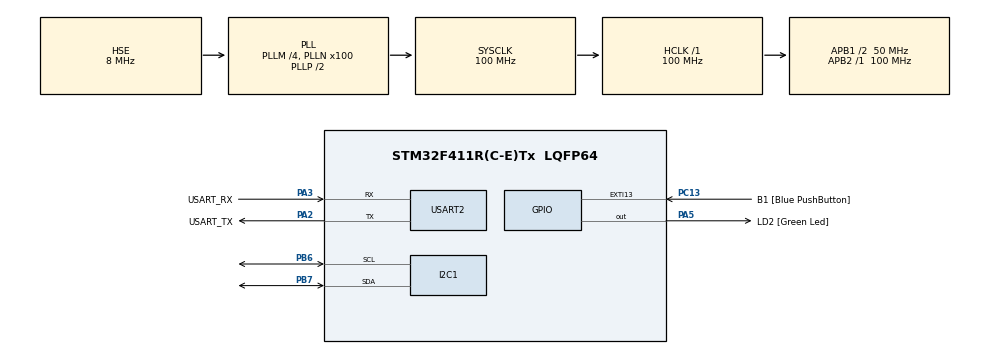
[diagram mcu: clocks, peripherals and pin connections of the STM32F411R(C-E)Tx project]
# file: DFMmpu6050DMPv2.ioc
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I2C1.I2C_Mode=I2C_Fast
Mcu.Family=STM32F4
Mcu.Name=STM32F411R(C-E)Tx
Mcu.Package=LQFP64
NVIC.PriorityGroup=NVIC_PRIORITYGROUP_0
PA13.GPIO_Label=TMS
PA13.Mode=Serial_Wire
PA13.Signal=SYS_JTMS-SWDIO
PA14.GPIO_Label=TCK
PA14.Mode=Serial_Wire
PA14.Signal=SYS_JTCK-SWCLK
PA2.GPIO_Label=USART_TX
PA2.Mode=Asynchronous
PA2.Signal=USART2_TX
PA3.GPIO_Label=USART_RX
PA3.Mode=Asynchronous
PA3.Signal=USART2_RX
PA5.GPIO_Label=LD2 [Green Led]
PA5.Signal=GPIO_Output
PB3.GPIO_Label=SWO
PB3.Signal=SYS_JTDO-SWO
PB6.Mode=I2C
PB6.Signal=I2C1_SCL
PB7.Mode=I2C
PB7.Signal=I2C1_SDA
PC13-ANTI_TAMP.GPIO_Label=B1 [Blue PushButton]
PC13-ANTI_TAMP.GPIO_ModeDefaultEXTI=GPIO_MODE_IT_FALLING
PC13-ANTI_TAMP.Signal=GPXTI13
PC14-OSC32_IN.Mode=LSE-External-Oscillator
PC14-OSC32_IN.Signal=RCC_OSC32_IN
PC15-OSC32_OUT.Mode=LSE-External-Oscillator
PC15-OSC32_OUT.Signal=RCC_OSC32_OUT
PH0\ -\ OSC_IN.Mode=HSE-External-Clock-Source
PH0\ -\ OSC_IN.Signal=RCC_OSC_IN
PH1\ -\ OSC_OUT.Mode=HSE-External-Clock-Source
PH1\ -\ OSC_OUT.Signal=RCC_OSC_OUT
ProjectManager.HeapSize=0x200
ProjectManager.StackSize=0x400
ProjectManager.TargetToolchain=STM32CubeIDE
RCC.48MHZClocksFreq_Value=50000000
RCC.AHBFreq_Value=100000000
RCC.APB1CLKDivider=RCC_HCLK_DIV2
RCC.APB1Freq_Value=50000000
RCC.APB1TimFreq_Value=100000000
RCC.APB2Freq_Value=100000000
RCC.APB2TimFreq_Value=100000000
RCC.CortexFreq_Value=100000000
RCC.FLatency-AdvancedSettings=FLASH_LATENCY_3
RCC.HCLKFreq_Value=100000000
RCC.HSE_VALUE=8000000
RCC.HSI_VALUE=16000000
RCC.PLLM=8
RCC.PLLN=100
RCC.SYSCLKFreq_VALUE=100000000
RCC.SYSCLKSource=RCC_SYSCLKSOURCE_PLLCLK
RCC.VCOOutputFreq_Value=200000000
USART2.VirtualMode=VM_ASYNC
board=NUCLEO-F411RE

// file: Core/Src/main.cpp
/* USER CODE BEGIN Header */
/**
  ******************************************************************************
  * @file           : main.c
  * @brief          : Main program body
  ******************************************************************************
  * @attention
  *
  * <h2><center>&copy; Copyright (c) 2021 STMicroelectronics.
  * All rights reserved.</center></h2>
  *
  * This software component is licensed by ST under BSD 3-Clause license,
  * the "License"; You may not use this file except in compliance with the
  * License. You may obtain a copy of the License at:
  *                        opensource.org/licenses/BSD-3-Clause
  *
  ******************************************************************************
  */
/* USER CODE END Header */
#include "main.h"
#include "i2c.h"
#include "usart.h"
#include "gpio.h"

/* USER CODE BEGIN Includes */
#include "string.h"
#include "sd_hal_mpu6050.h"
#include "math.h"
#include "ArduinoWrapper.h"
/* USER CODE END Includes */

/* USER CODE BEGIN PTD */
//extern UART_HandleTypeDef huart2;
//
//#ifdef __GNUC__
//#define PUTCHAR_PROTOTYPE int __io_putchar(int ch)
//#else
//#define PUTCHAR_PROTOTYPE int fputc(int ch, FILE *f)
//#endif
//PUTCHAR_PROTOTYPE
//{
//    HAL_UART_Transmit(&huart2 , (uint8_t *)&ch, 1 , 0xffff);
//    return ch;
//}
/* USER CODE END PTD */

void SystemClock_Config(void);
/* USER CODE BEGIN PFP */
#define MPU6050_I2C_ADDR			0xD0

/* Who I am register value */
#define MPU6050_I_AM				0x68
#define MPU6050_AUX_VDDIO			0x01
#define MPU6050_SMPLRT_DIV			0x19
#define MPU6050_CONFIG				0x1A
#define MPU6050_GYRO_CONFIG			0x1B
#define MPU6050_ACCEL_CONFIG		0x1C
#define MPU6050_MOTION_THRESH		0x1F
#define MPU6050_INT_PIN_CFG			0x37
#define MPU6050_INT_ENABLE			0x38
#define MPU6050_INT_STATUS			0x3A
#define MPU6050_ACCEL_XOUT_H		0x3B
#define MPU6050_ACCEL_XOUT_L		0x3C
#define MPU6050_ACCEL_YOUT_H		0x3D
#define MPU6050_ACCEL_YOUT_L		0x3E
#define MPU6050_ACCEL_ZOUT_H		0x3F
#define MPU6050_ACCEL_ZOUT_L		0x40
#define MPU6050_TEMP_OUT_H			0x41
#define MPU6050_TEMP_OUT_L			0x42
#define MPU6050_GYRO_XOUT_H			0x43
#define MPU6050_GYRO_XOUT_L			0x44
#define MPU6050_GYRO_YOUT_H			0x45
#define MPU6050_GYRO_YOUT_L			0x46
#define MPU6050_GYRO_ZOUT_H			0x47
#define MPU6050_GYRO_ZOUT_L			0x48
#define MPU6050_MOT_DETECT_STATUS	0x61
#define MPU6050_SIGNAL_PATH_RESET	0x68
#define MPU6050_MOT_DETECT_CTRL		0x69
#define MPU6050_USER_CTRL			0x6A
#define MPU6050_PWR_MGMT_1			0x6B
#define MPU6050_PWR_MGMT_2			0x6C
#define MPU6050_FIFO_COUNTH			0x72
#define MPU6050_FIFO_COUNTL			0x73
#define MPU6050_FIFO_R_W			0x74
#define MPU6050_WHO_AM_I			0x75

/* Gyro sensitivities in degrees/s */
#define MPU6050_GYRO_SENS_250		((float) 131)
#define MPU6050_GYRO_SENS_500		((float) 65.5)
#define MPU6050_GYRO_SENS_1000		((float) 32.8)
#define MPU6050_GYRO_SENS_2000		((float) 16.4)

/* Acce sensitivities in g/s */
#define MPU6050_ACCE_SENS_2			((float) 16384)
#define MPU6050_ACCE_SENS_4			((float) 8192)
#define MPU6050_ACCE_SENS_8			((float) 4096)
#define MPU6050_ACCE_SENS_16		((float) 2048)
/* Call MPU6050 */
SD_MPU6050 mpu1;
/* Kalman user define */
#define KAL_ERROR_ESTIMATED			((float) 9800)
#define KAL_ERROR_MEASUREMENT			((float) 9800)
#define KAL_NOISE_PROCESS			((float) 10)
/* USER CODE END PFP */

/* USER CODE BEGIN 0 */

/*Kalman Filter function*/
/*Variables define*/
float temper;
float a_x,a_y,a_z,g_x,g_y,g_z,mea;
float kalman_gain, current_estimate, last_estimate;
float err_est = KAL_ERROR_ESTIMATED;
float err_mea = KAL_ERROR_MEASUREMENT;
float proc_noise = KAL_NOISE_PROCESS;
/* Main function
 * mea - data read from sensor
 * err_est, err_mea, proc_noise is set by user, mN/s^2 */
float KalmanFilter(float mea)
	{
		kalman_gain = err_est/(err_est + err_mea) ;
		current_estimate = last_estimate + kalman_gain*(mea-last_estimate);
		err_est = (1.0-kalman_gain)*err_est + fabs(last_estimate-current_estimate)*proc_noise;
		last_estimate = current_estimate;
		return current_estimate;
	}
/* Define pointer for output data from Kalman Filter */
float kal_a_z, kal_a_x, kal_a_y, kal_g_x, kal_g_y, kal_g_z;
/* Get data from MPU6050, filter with kalman and send them to Pi*/
void IMU_data_processing()
{
		SD_MPU6050_Result result ;
		result = SD_MPU6050_Init(&hi2c1,&mpu1,SD_MPU6050_Device_0,SD_MPU6050_Accelerometer_4G,SD_MPU6050_Gyroscope_250s );
	  HAL_Delay(100);
		if(result == SD_MPU6050_Result_Ok)
	  {
		  printf("\n mpu_ok \n");
	  }
	  else
	  {
		  printf("\n mpu_not_ok \n");
	  }
	  HAL_Delay(1);
	  SD_MPU6050_ReadTemperature(&hi2c1,&mpu1);
	  temper = mpu1.Temperature;
	  SD_MPU6050_ReadGyroscope(&hi2c1,&mpu1);
	  g_x = mpu1.Gyroscope_X;
	  g_y = mpu1.Gyroscope_Y;
	  g_z = mpu1.Gyroscope_Z;
  /* USER CODE BEGIN 3 */
	  SD_MPU6050_ReadAccelerometer(&hi2c1,&mpu1);
	  a_x = mpu1.Accelerometer_X;
	  a_y = mpu1.Accelerometer_Y;
	  a_z = mpu1.Accelerometer_Z;
	  printf("Accel \r\n");
	  printf("%.2f\r\n", a_x / 16384);
	  printf("%.2f\r\n", a_y / 16384);
	  printf("%.2f\r\n", a_z / 16384);
  /* USER CODE END WHILE */
		/*Use Kalman filter for accelerometer*/
//		kal_g_z = KalmanFilter(mea = g_z);
//		HAL_Delay(1);
//		kal_g_y = KalmanFilter(mea = g_y);
//		HAL_Delay(1);
//		kal_g_x = KalmanFilter(mea = g_x);
//		HAL_Delay(1);
//		printf("Kalman GYRO \r\n");
//		printf("%f\r\n", kal_g_x);
//		printf("%f\r\n", kal_g_y);
//		printf("%f\r\n", kal_g_z);
		/* Send data to Raspberry Pi via UART 1*/
}
/* USER CODE END 0 */

int main(void)
{

  /* MCU Configuration--------------------------------------------------------*/

  /* Reset of all peripherals, Initializes the Flash interface and the Systick. */
  HAL_Init();

  /* Configure the system clock */
  SystemClock_Config();

  /* Initialize all configured peripherals */
  MX_GPIO_Init();
  MX_USART2_UART_Init();
  MX_I2C1_Init();

  /* Infinite loop */
  /* USER CODE BEGIN WHILE */
  while (1)
  {
		IMU_data_processing();
    /* USER CODE END WHILE */

  }
}

void SystemClock_Config(void)
{
  RCC_OscInitTypeDef RCC_OscInitStruct = {0};
  RCC_ClkInitTypeDef RCC_ClkInitStruct = {0};

  /** Configure the main internal regulator output voltage
  */
  __HAL_RCC_PWR_CLK_ENABLE();
  __HAL_PWR_VOLTAGESCALING_CONFIG(PWR_REGULATOR_VOLTAGE_SCALE1);
  /** Initializes the RCC Oscillators according to the specified parameters
  * in the RCC_OscInitTypeDef structure.
  */
  RCC_OscInitStruct.OscillatorType = RCC_OSCILLATORTYPE_HSE;
  RCC_OscInitStruct.HSEState = RCC_HSE_BYPASS;
  RCC_OscInitStruct.PLL.PLLState = RCC_PLL_ON;
  RCC_OscInitStruct.PLL.PLLSource = RCC_PLLSOURCE_HSE;
  RCC_OscInitStruct.PLL.PLLM = 4;
  RCC_OscInitStruct.PLL.PLLN = 100;
  RCC_OscInitStruct.PLL.PLLP = RCC_PLLP_DIV2;
  RCC_OscInitStruct.PLL.PLLQ = 4;
  if (HAL_RCC_OscConfig(&RCC_OscInitStruct) != HAL_OK)
  {
    Error_Handler();
  }
  /** Initializes the CPU, AHB and APB buses clocks
  */
  RCC_ClkInitStruct.ClockType = RCC_CLOCKTYPE_HCLK|RCC_CLOCKTYPE_SYSCLK
                              |RCC_CLOCKTYPE_PCLK1|RCC_CLOCKTYPE_PCLK2;
  RCC_ClkInitStruct.SYSCLKSource = RCC_SYSCLKSOURCE_PLLCLK;
  RCC_ClkInitStruct.AHBCLKDivider = RCC_SYSCLK_DIV1;
  RCC_ClkInitStruct.APB1CLKDivider = RCC_HCLK_DIV2;
  RCC_ClkInitStruct.APB2CLKDivider = RCC_HCLK_DIV1;

  if (HAL_RCC_ClockConfig(&RCC_ClkInitStruct, FLASH_LATENCY_3) != HAL_OK)
  {
    Error_Handler();
  }
}

void Error_Handler(void)
{
  __disable_irq();
  while (1)
  {
  }
}

/************************ (C) COPYRIGHT STMicroelectronics *****END OF FILE****/
